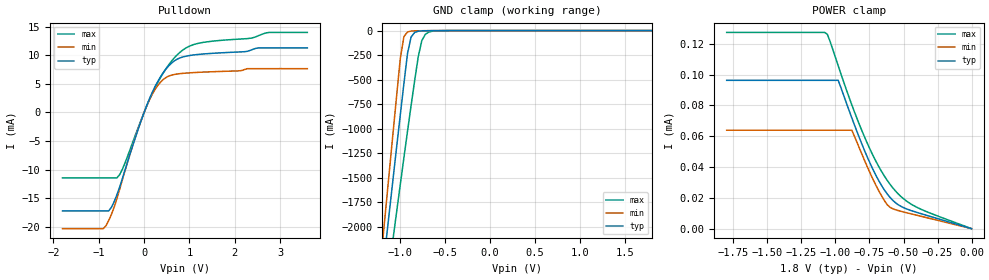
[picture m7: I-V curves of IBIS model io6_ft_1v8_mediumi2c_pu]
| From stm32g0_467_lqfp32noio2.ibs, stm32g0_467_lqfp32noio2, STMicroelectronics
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[Model]  io6_ft_1v8_mediumi2c_pu
Model_type I/O_open_drain
Polarity   Non-Inverting
Enable   Active-Low
Vinl =   0.540000V
Vinh =   1.260000V
Vmeas =  0.900000V
Cref =   40.000000pF
Rref =   100.000000M
Vref =   0.0V
C_comp   1.277600pF   1.236700pF   1.315100pF
[Temperature Range]   25.000000   -40.000000   0.125000k
[Pullup Reference]   1.800000V   1.600000V   2.000000V
[Pulldown Reference]   0.0V   0.0V   0.0V
[POWER Clamp Reference]   1.800000V   1.600000V   2.000000V
[GND Clamp Reference]   0.0V   0.0V   0.0V
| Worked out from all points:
|   slope of the pulldown table from 0 to 0.27 V, typ, clamps not added: 54.7 ohm
|   GND clamp passes 1 mA (typ) near -0.66 V on its own axis
[Pulldown]
|Voltage   I(typ)   I(min)   I(max)
-1.8V     -17.22mA   -20.33mA   -11.45mA
-900mV    -17.22mA   -20.33mA   -11.45mA
-720mV    -16.58mA   -17.82mA   -11.45mA
-600mV    -14.41mA   -15.08mA   -11.45mA
-480mV    -11.58mA   -11.79mA   -9.954mA
0V        0A         0A         0A
240mV     4.49mA     3.999mA    4.291mA
480mV     7.563mA    6.085mA    7.612mA
780mV     9.487mA    6.76mA     10.43mA
1.14V     10.08mA    6.976mA    11.96mA
2.76V     11.26mA    7.647mA    13.98mA
3.6V      11.26mA    7.647mA    13.98mA
[GND_clamp]
|Voltage   I(typ)   I(min)   I(max)
-1.8V     -7.471A    -7.973A    -7.298A
-1.2V     -2.489A    -2.18A     -2.954A
-1.16V    -2.16A     -1.797A    -2.674A
-1.08V    -1.505A    -1.034A    -2.118A
-1V       -857.9mA   -283.1mA   -1.568A
-960mV    -540.4mA   -62.14mA   -1.296A
-920mV    -234.4mA   -13.75mA   -1.028A
-880mV    -66.29mA   -4.855mA   -765.3mA
-800mV    -6.505mA   -2.056mA   -266mA
-760mV    -3.074mA   -1.45mA    -100.4mA
-680mV    -1.215mA   -557.1uA   -14.19mA
1.8V      0A         0A         0A
[POWER_clamp]
|Voltage   I(typ)   I(min)   I(max)
-1.8V     96.34uA    63.94uA    127.5uA
-1.08V    96.34uA    63.94uA    127.5uA
-1.06V    96.34uA    63.94uA    126.3uA
-980mV    96.34uA    63.94uA    105.8uA
-880mV    71.93uA    63.94uA    80.41uA
-800mV    53.62uA    47.15uA    62.36uA
-720mV    37.64uA    31.24uA    46.77uA
-640mV    25.08uA    18.16uA    34.09uA
-600mV    20.4uA     13.93uA    28.92uA
-520mV    14.54uA    11.31uA    20.97uA
-420mV    11.06uA    9.102uA    14.71uA
0V        0A         0A         0A
[Ramp]
| variable   typ   min   max
dV/dt_r  0.306/17.48501n   0.210/17.52538n   0.369/19.65364n
dV/dt_f  0.30492/17.70800n   0.20814/19.72167n   0.36888/17.43750n
R_load = 50.000000
